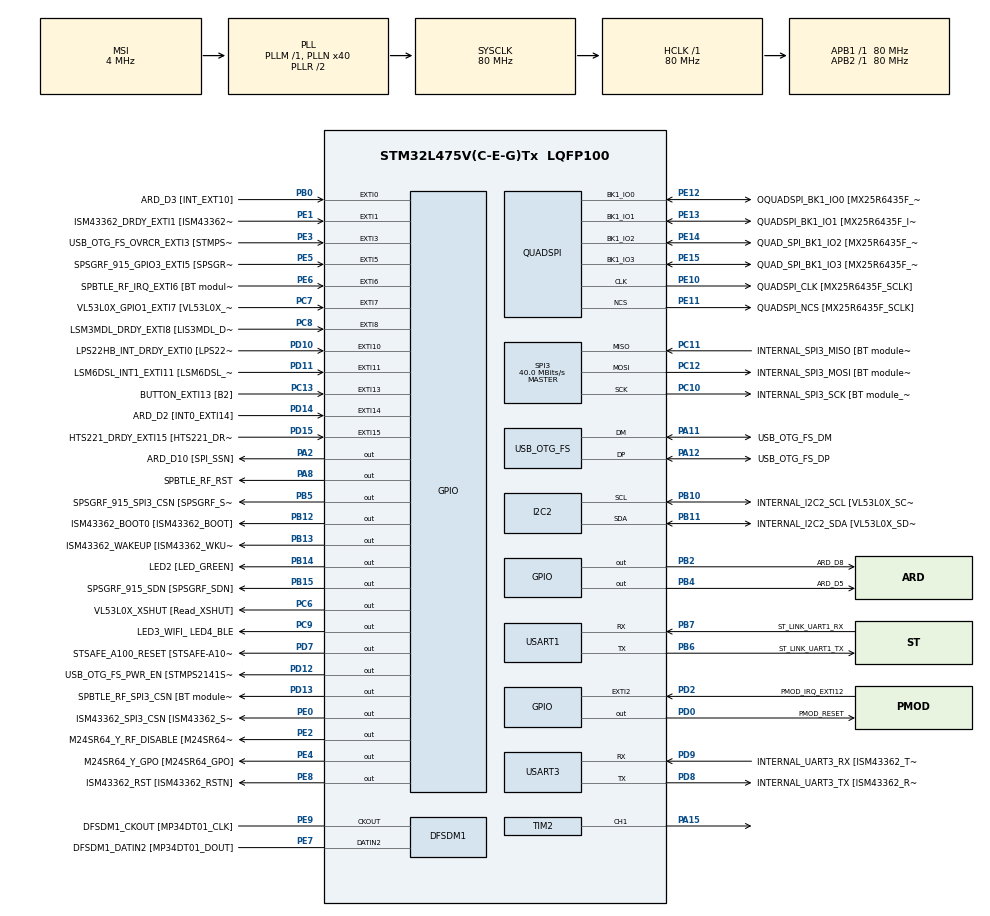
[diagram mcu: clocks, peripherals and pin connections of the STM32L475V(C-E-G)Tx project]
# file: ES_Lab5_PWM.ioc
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Mcu.Family=STM32L4
Mcu.Name=STM32L475V(C-E-G)Tx
Mcu.Package=LQFP100
NVIC.EXTI15_10_IRQn=true\:0\:0\:false\:false\:true\:true\:true\:true
NVIC.EXTI9_5_IRQn=true\:0\:0\:false\:false\:true\:true\:true\:true
NVIC.PriorityGroup=NVIC_PRIORITYGROUP_4
PA0.GPIO_Label=ARD_D1 [UART4_TX]
PA0.Signal=UART4_TX
PA1.GPIO_Label=ARD_D0 [UART4_RX]
PA1.Signal=UART4_RX
PA10.GPIO_Label=USB_OTG_FS_ID
PA10.Signal=USB_OTG_FS_ID
PA11.GPIO_Label=USB_OTG_FS_DM
PA11.Mode=Device_Only
PA11.Signal=USB_OTG_FS_DM
PA12.GPIO_Label=USB_OTG_FS_DP
PA12.Mode=Device_Only
PA12.Signal=USB_OTG_FS_DP
PA13\ (JTMS-SWDIO).GPIO_Label=SYS_JTMS_SWDIO
PA13\ (JTMS-SWDIO).Mode=Serial_Wire
PA13\ (JTMS-SWDIO).Signal=SYS_JTMS-SWDIO
PA14\ (JTCK-SWCLK).GPIO_Label=SYS_JTCK_SWCLK
PA14\ (JTCK-SWCLK).Mode=Serial_Wire
PA14\ (JTCK-SWCLK).Signal=SYS_JTCK-SWCLK
PA15\ (JTDI).Signal=S_TIM2_CH1
PA2.GPIO_Label=ARD_D10 [SPI_SSN]
PA2.Signal=GPIO_Output
PA3.GPIO_Label=ARD_D4
PA3.Signal=S_TIM2_CH4
PA4.GPIO_Label=ARD_D7
PA4.Signal=ADCx_IN9
PA6.GPIO_Label=ARD_D12 [SPI1_MISO]
PA6.Signal=SPI1_MISO
PA7.GPIO_Label=ARD_D11 [SPI1_MOSI]
PA7.Signal=SPI1_MOSI
PA8.GPIO_Label=SPBTLE_RF_RST
PA8.Signal=GPIO_Output
PA9.GPIO_Label=USB_OTG_FS_VBUS [STMPS2141STR_OUT]
PA9.Signal=USB_OTG_FS_VBUS
PB0.GPIO_Label=ARD_D3 [INT_EXT10]
PB0.Signal=GPXTI0
PB1.GPIO_Label=ARD_D6 [ADC1_IN6]
PB1.Signal=ADCx_IN16
PB10.GPIO_Label=INTERNAL_I2C2_SCL [VL53L0X_SCL]
PB10.GPIO_Pu=GPIO_PULLUP
PB10.Mode=I2C
PB10.Signal=I2C2_SCL
PB11.GPIO_Label=INTERNAL_I2C2_SDA [VL53L0X_SDA]
PB11.GPIO_Pu=GPIO_PULLUP
PB11.Mode=I2C
PB11.Signal=I2C2_SDA
PB12.GPIO_Label=ISM43362_BOOT0 [ISM43362_BOOT]
PB12.Signal=GPIO_Output
PB13.GPIO_Label=ISM43362_WAKEUP [ISM43362_WKUP]
PB13.Signal=GPIO_Output
PB14.GPIO_Label=LED2 [LED_GREEN]
PB14.Signal=GPIO_Output
PB15.GPIO_Label=SPSGRF_915_SDN [SPSGRF_SDN]
PB15.Signal=GPIO_Output
PB2.GPIO_Label=ARD_D8
PB2.Signal=GPIO_Output
PB3\ (JTDO-TRACESWO).GPIO_Label=SYS_JTD0_SWO
PB3\ (JTDO-TRACESWO).Signal=SYS_JTDO-SWO
PB4\ (NJTRST).GPIO_Label=ARD_D5
PB4\ (NJTRST).Signal=GPIO_Output
PB5.GPIO_Label=SPSGRF_915_SPI3_CSN [SPSGRF_SPI_CS]
PB5.PinState=GPIO_PIN_SET
PB5.Signal=GPIO_Output
PB6.GPIO_Label=ST_LINK_UART1_TX
PB6.Mode=Asynchronous
PB6.Signal=USART1_TX
PB7.GPIO_Label=ST_LINK_UART1_RX
PB7.Mode=Asynchronous
PB7.Signal=USART1_RX
PB8.GPIO_Label=ARD_D15 [I2C1_SCL]
PB8.Signal=I2C1_SCL
PB9.GPIO_Label=ARD_D14 [I2C1_SDA]
PB9.Signal=I2C1_SDA
PC0.GPIO_Label=ARD_A5 [ADC]
PC0.Signal=ADCx_IN1
PC1.GPIO_Label=ARD_A4 [ADC]
PC1.Signal=ADCx_IN2
PC10.GPIO_Label=INTERNAL_SPI3_SCK [BT module_SPI_SCLK] [ISM43362_SCK]
PC10.Mode=Full_Duplex_Master
PC10.Signal=SPI3_SCK
PC11.GPIO_Label=INTERNAL_SPI3_MISO [BT module_SPI_MISO] [ISM43362_MISO]
PC11.Mode=Full_Duplex_Master
PC11.Signal=SPI3_MISO
PC12.GPIO_Label=INTERNAL_SPI3_MOSI [BT module_SPI_MOSI] [ISM43362_MOSI]
PC12.Mode=Full_Duplex_Master
PC12.Signal=SPI3_MOSI
PC13.GPIO_Label=BUTTON_EXTI13 [B2]
PC13.GPIO_ModeDefaultEXTI=GPIO_MODE_IT_FALLING
PC13.Signal=GPXTI13
PC14-OSC32_IN\ (PC14).Mode=LSE-External-Oscillator
PC14-OSC32_IN\ (PC14).Signal=RCC_OSC32_IN
PC15-OSC32_OUT\ (PC15).Mode=LSE-External-Oscillator
PC15-OSC32_OUT\ (PC15).Signal=RCC_OSC32_OUT
PC2.GPIO_Label=ARD_A3 [ADC]
PC2.Signal=ADCx_IN3
PC3.GPIO_Label=ARD_A2 [ADC]
PC3.Signal=ADCx_IN4
PC4.GPIO_Label=ARD_A1 [ADC]
PC4.Signal=ADCx_IN13
PC5.GPIO_Label=ARD_A0 [ADC]
PC5.Signal=ADCx_IN14
PC6.GPIO_Label=VL53L0X_XSHUT [Read_XSHUT]
PC6.Signal=GPIO_Output
PC7.GPIO_Label=VL53L0X_GPIO1_EXTI7 [VL53L0X_GPIO1]
PC7.Signal=GPXTI7
PC8.GPIO_Label=LSM3MDL_DRDY_EXTI8 [LIS3MDL_DRDY]
PC8.Signal=GPXTI8
PC9.GPIO_Label=LED3_WIFI_ LED4_BLE
PC9.Signal=GPIO_Output
PD0.GPIO_Label=PMOD_RESET
PD0.Signal=GPIO_Output
PD1.GPIO_Label=PMOD_SPI2_SCK
PD1.Signal=SPI2_SCK
PD10.GPIO_Label=LPS22HB_INT_DRDY_EXTI0 [LPS22HB_INT_DRDY] 
PD10.Signal=GPXTI10
PD11.GPIO_Label=LSM6DSL_INT1_EXTI11 [LSM6DSL_INT1]
PD11.Signal=GPXTI11
PD12.GPIO_Label=USB_OTG_FS_PWR_EN [STMPS2141STR_EN]
PD12.Signal=GPIO_Output
PD13.GPIO_Label=SPBTLE_RF_SPI3_CSN [BT module_SPI_CS]
PD13.PinState=GPIO_PIN_SET
PD13.Signal=GPIO_Output
PD14.GPIO_Label=ARD_D2 [INT0_EXTI14]
PD14.Signal=GPXTI14
PD15.GPIO_Label=HTS221_DRDY_EXTI15 [HTS221_DRDY]
PD15.Signal=GPXTI15
PD2.GPIO_Label=PMOD_IRQ_EXTI12
PD2.Signal=GPXTI2
PD3.GPIO_Label=PMOD_UART2_CTS
PD3.Signal=USART2_CTS
PD4.GPIO_Label=PMOD_UART2_RTS
PD4.Signal=USART2_RTS
PD5.GPIO_Label=PMOD_UART2_TX
PD5.Signal=USART2_TX
PD6.GPIO_Label=PMOD_UART2_RX
PD6.Signal=USART2_RX
PD7.GPIO_Label=STSAFE_A100_RESET [STSAFE-A100_RESET]
PD7.Signal=GPIO_Output
PD8.GPIO_Label=INTERNAL_UART3_TX [ISM43362_RX]
PD8.Mode=Asynchronous
PD8.Signal=USART3_TX
PD9.GPIO_Label=INTERNAL_UART3_RX [ISM43362_TX]
PD9.Mode=Asynchronous
PD9.Signal=USART3_RX
PE0.GPIO_Label=ISM43362_SPI3_CSN [ISM43362_SSN]
PE0.PinState=GPIO_PIN_SET
PE0.Signal=GPIO_Output
PE1.GPIO_Label=ISM43362_DRDY_EXTI1 [ISM43362_DATARDY]
PE1.Signal=GPXTI1
PE10.GPIO_Label=QUADSPI_CLK [MX25R6435F_SCLK]
PE10.Mode=Single Bank
PE10.Signal=QUADSPI_CLK
PE11.GPIO_Label=QUADSPI_NCS [MX25R6435F_SCLK]
PE11.Mode=Single Bank
PE11.Signal=QUADSPI_NCS
PE12.GPIO_Label=OQUADSPI_BK1_IO0 [MX25R6435F_IO0]
PE12.Mode=Single Bank
PE12.Signal=QUADSPI_BK1_IO0
PE13.GPIO_Label=QUADSPI_BK1_IO1 [MX25R6435F_IO1]
PE13.Mode=Single Bank
PE13.Signal=QUADSPI_BK1_IO1
PE14.GPIO_Label=QUAD_SPI_BK1_IO2 [MX25R6435F_IO2]
PE14.Mode=Single Bank
PE14.Signal=QUADSPI_BK1_IO2
PE15.GPIO_Label=QUAD_SPI_BK1_IO3 [MX25R6435F_IO3]
PE15.Mode=Single Bank
PE15.Signal=QUADSPI_BK1_IO3
PE2.GPIO_Label=M24SR64_Y_RF_DISABLE [M24SR64_RFDIS]
PE2.Signal=GPIO_Output
PE3.GPIO_Label=USB_OTG_FS_OVRCR_EXTI3 [STMPS2141STR_FAULT]
PE3.Signal=GPXTI3
PE4.GPIO_Label=M24SR64_Y_GPO [M24SR64_GPO]
PE4.Signal=GPIO_Output
PE5.GPIO_Label=SPSGRF_915_GPIO3_EXTI5 [SPSGRF_GPIO_3]
PE5.Signal=GPXTI5
PE6.GPIO_Label=SPBTLE_RF_IRQ_EXTI6 [BT module_SPI_IRQ]
PE6.Signal=GPXTI6
PE7.GPIO_Label=DFSDM1_DATIN2 [MP34DT01_DOUT]
PE7.Signal=S_DATAIN2DFSDM1
PE8.GPIO_Label=ISM43362_RST [ISM43362_RSTN]
PE8.Signal=GPIO_Output
PE9.GPIO_Label=DFSDM1_CKOUT [MP34DT01_CLK]
PE9.Signal=S_CKOUTDFSDM1
ProjectManager.HeapSize=0x200
ProjectManager.StackSize=0x400
ProjectManager.TargetToolchain=STM32CubeIDE
QUADSPI.ClockPrescaler=2
QUADSPI.FifoThreshold=4
QUADSPI.FlashSize=23
QUADSPI.SampleShifting=QSPI_SAMPLE_SHIFTING_HALFCYCLE
RCC.ADCFreq_Value=48000000
RCC.AHBFreq_Value=80000000
RCC.APB1Freq_Value=80000000
RCC.APB1TimFreq_Value=80000000
RCC.APB2Freq_Value=80000000
RCC.APB2TimFreq_Value=80000000
RCC.CortexFreq_Value=80000000
RCC.HCLKFreq_Value=80000000
RCC.HSE_VALUE=8000000
RCC.HSI_VALUE=16000000
RCC.MSI_VALUE=4000000
RCC.PLLN=40
RCC.PLLSAI1N=24
RCC.SYSCLKFreq_VALUE=80000000
RCC.SYSCLKSource=RCC_SYSCLKSOURCE_PLLCLK
RCC.USBFreq_Value=48000000
RCC.VCOOutputFreq_Value=160000000
SH.ADCx_IN1.0=ADC1_IN1
SH.ADCx_IN13.0=ADC1_IN13
SH.ADCx_IN14.0=ADC1_IN14
SH.ADCx_IN16.0=ADC1_IN16
SH.ADCx_IN2.0=ADC1_IN2
SH.ADCx_IN3.0=ADC1_IN3
SH.ADCx_IN4.0=ADC1_IN4
SH.ADCx_IN9.0=ADC1_IN9
SH.S_CKOUTDFSDM1.0=DFSDM1_CKOUT,CKOUT
SH.S_CKOUTDFSDM1.1=DFSDM1_CKOUT,PDM_SPI_Input_from_ch12_and_Internal_Clock
SH.S_DATAIN2DFSDM1.0=DFSDM1_DATIN2,PDM_SPI_Input_from_ch12_and_Internal_Clock
SH.S_TIM2_CH1.0=TIM2_CH1,PWM Generation1 CH1
SH.S_TIM2_CH4.0=TIM2_CH4
SPI3.CalculateBaudRate=40.0 MBits/s
SPI3.Direction=SPI_DIRECTION_2LINES
SPI3.Mode=SPI_MODE_MASTER
SPI3.VirtualType=VM_MASTER
TIM2.Channel-PWM\ Generation1\ CH1=TIM_CHANNEL_1
TIM2.Period=99
TIM2.Prescaler=31
USART1.VirtualMode-Asynchronous=VM_ASYNC
USART3.VirtualMode-Asynchronous=VM_ASYNC
USB_OTG_FS.VirtualMode=Device_Only
VP_TIM2_VS_ClockSourceINT.Mode=Internal
board=B-L475E-IOT01A1

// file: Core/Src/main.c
/* USER CODE BEGIN Header */
/**
  ******************************************************************************
  * @file           : main.c
  * @brief          : Main program body
  ******************************************************************************
  * @attention
  *
  * Copyright (c) 2025 STMicroelectronics.
  * All rights reserved.
  *
  * This software is licensed under terms that can be found in the LICENSE file
  * in the root directory of this software component.
  * If no LICENSE file comes with this software, it is provided AS-IS.
  *
  ******************************************************************************
  */
#include <math.h>
/* USER CODE END Header */
#include "main.h"

DFSDM_Channel_HandleTypeDef hdfsdm1_channel1;

I2C_HandleTypeDef hi2c2;

QSPI_HandleTypeDef hqspi;

SPI_HandleTypeDef hspi3;

TIM_HandleTypeDef htim2;

UART_HandleTypeDef huart1;
UART_HandleTypeDef huart3;

PCD_HandleTypeDef hpcd_USB_OTG_FS;

void SystemClock_Config(void);
static void MX_GPIO_Init(void);
static void MX_DFSDM1_Init(void);
static void MX_I2C2_Init(void);
static void MX_QUADSPI_Init(void);
static void MX_SPI3_Init(void);
static void MX_USART1_UART_Init(void);
static void MX_USART3_UART_Init(void);
static void MX_USB_OTG_FS_PCD_Init(void);
static void MX_TIM2_Init(void);
/* USER CODE BEGIN PFP */
void SetPulse(int pulse);
void Breathe(void);
/* USER CODE END PFP */

int main(void)
{

  /* MCU Configuration--------------------------------------------------------*/

  /* Reset of all peripherals, Initializes the Flash interface and the Systick. */
  HAL_Init();

  /* Configure the system clock */
  SystemClock_Config();

  /* Initialize all configured peripherals */
  MX_GPIO_Init();
  MX_DFSDM1_Init();
  MX_I2C2_Init();
  MX_QUADSPI_Init();
  MX_SPI3_Init();
  MX_USART1_UART_Init();
  MX_USART3_UART_Init();
  MX_USB_OTG_FS_PCD_Init();
  MX_TIM2_Init();
  /* USER CODE BEGIN 2 */
  HAL_TIM_PWM_Start(&htim2,TIM_CHANNEL_1);
  /* USER CODE END 2 */

  /* Infinite loop */
  /* USER CODE BEGIN WHILE */
  while (1)
  {
	  HAL_Delay(10);
	  Breathe();
    /* USER CODE END WHILE */

  }
}

void SystemClock_Config(void)
{
  RCC_OscInitTypeDef RCC_OscInitStruct = {0};
  RCC_ClkInitTypeDef RCC_ClkInitStruct = {0};

  /** Configure the main internal regulator output voltage
  */
  if (HAL_PWREx_ControlVoltageScaling(PWR_REGULATOR_VOLTAGE_SCALE1) != HAL_OK)
  {
    Error_Handler();
  }

  /** Configure LSE Drive Capability
  */
  HAL_PWR_EnableBkUpAccess();
  __HAL_RCC_LSEDRIVE_CONFIG(RCC_LSEDRIVE_LOW);

  /** Initializes the RCC Oscillators according to the specified parameters
  * in the RCC_OscInitTypeDef structure.
  */
  RCC_OscInitStruct.OscillatorType = RCC_OSCILLATORTYPE_LSE|RCC_OSCILLATORTYPE_MSI;
  RCC_OscInitStruct.LSEState = RCC_LSE_ON;
  RCC_OscInitStruct.MSIState = RCC_MSI_ON;
  RCC_OscInitStruct.MSICalibrationValue = 0;
  RCC_OscInitStruct.MSIClockRange = RCC_MSIRANGE_6;
  RCC_OscInitStruct.PLL.PLLState = RCC_PLL_ON;
  RCC_OscInitStruct.PLL.PLLSource = RCC_PLLSOURCE_MSI;
  RCC_OscInitStruct.PLL.PLLM = 1;
  RCC_OscInitStruct.PLL.PLLN = 40;
  RCC_OscInitStruct.PLL.PLLP = RCC_PLLP_DIV7;
  RCC_OscInitStruct.PLL.PLLQ = RCC_PLLQ_DIV2;
  RCC_OscInitStruct.PLL.PLLR = RCC_PLLR_DIV2;
  if (HAL_RCC_OscConfig(&RCC_OscInitStruct) != HAL_OK)
  {
    Error_Handler();
  }

  /** Initializes the CPU, AHB and APB buses clocks
  */
  RCC_ClkInitStruct.ClockType = RCC_CLOCKTYPE_HCLK|RCC_CLOCKTYPE_SYSCLK
                              |RCC_CLOCKTYPE_PCLK1|RCC_CLOCKTYPE_PCLK2;
  RCC_ClkInitStruct.SYSCLKSource = RCC_SYSCLKSOURCE_PLLCLK;
  RCC_ClkInitStruct.AHBCLKDivider = RCC_SYSCLK_DIV1;
  RCC_ClkInitStruct.APB1CLKDivider = RCC_HCLK_DIV1;
  RCC_ClkInitStruct.APB2CLKDivider = RCC_HCLK_DIV1;

  if (HAL_RCC_ClockConfig(&RCC_ClkInitStruct, FLASH_LATENCY_4) != HAL_OK)
  {
    Error_Handler();
  }

  /** Enable MSI Auto calibration
  */
  HAL_RCCEx_EnableMSIPLLMode();
}

static void MX_DFSDM1_Init(void)
{

  hdfsdm1_channel1.Instance = DFSDM1_Channel1;
  hdfsdm1_channel1.Init.OutputClock.Activation = ENABLE;
  hdfsdm1_channel1.Init.OutputClock.Selection = DFSDM_CHANNEL_OUTPUT_CLOCK_SYSTEM;
  hdfsdm1_channel1.Init.OutputClock.Divider = 2;
  hdfsdm1_channel1.Init.Input.Multiplexer = DFSDM_CHANNEL_EXTERNAL_INPUTS;
  hdfsdm1_channel1.Init.Input.DataPacking = DFSDM_CHANNEL_STANDARD_MODE;
  hdfsdm1_channel1.Init.Input.Pins = DFSDM_CHANNEL_FOLLOWING_CHANNEL_PINS;
  hdfsdm1_channel1.Init.SerialInterface.Type = DFSDM_CHANNEL_SPI_RISING;
  hdfsdm1_channel1.Init.SerialInterface.SpiClock = DFSDM_CHANNEL_SPI_CLOCK_INTERNAL;
  hdfsdm1_channel1.Init.Awd.FilterOrder = DFSDM_CHANNEL_FASTSINC_ORDER;
  hdfsdm1_channel1.Init.Awd.Oversampling = 1;
  hdfsdm1_channel1.Init.Offset = 0;
  hdfsdm1_channel1.Init.RightBitShift = 0x00;
  if (HAL_DFSDM_ChannelInit(&hdfsdm1_channel1) != HAL_OK)
  {
    Error_Handler();
  }

}

static void MX_I2C2_Init(void)
{

  hi2c2.Instance = I2C2;
  hi2c2.Init.Timing = 0x00000E14;
  hi2c2.Init.OwnAddress1 = 0;
  hi2c2.Init.AddressingMode = I2C_ADDRESSINGMODE_7BIT;
  hi2c2.Init.DualAddressMode = I2C_DUALADDRESS_DISABLE;
  hi2c2.Init.OwnAddress2 = 0;
  hi2c2.Init.OwnAddress2Masks = I2C_OA2_NOMASK;
  hi2c2.Init.GeneralCallMode = I2C_GENERALCALL_DISABLE;
  hi2c2.Init.NoStretchMode = I2C_NOSTRETCH_DISABLE;
  if (HAL_I2C_Init(&hi2c2) != HAL_OK)
  {
    Error_Handler();
  }

  /** Configure Analogue filter
  */
  if (HAL_I2CEx_ConfigAnalogFilter(&hi2c2, I2C_ANALOGFILTER_ENABLE) != HAL_OK)
  {
    Error_Handler();
  }

  /** Configure Digital filter
  */
  if (HAL_I2CEx_ConfigDigitalFilter(&hi2c2, 0) != HAL_OK)
  {
    Error_Handler();
  }

}

static void MX_QUADSPI_Init(void)
{

  /* QUADSPI parameter configuration*/
  hqspi.Instance = QUADSPI;
  hqspi.Init.ClockPrescaler = 2;
  hqspi.Init.FifoThreshold = 4;
  hqspi.Init.SampleShifting = QSPI_SAMPLE_SHIFTING_HALFCYCLE;
  hqspi.Init.FlashSize = 23;
  hqspi.Init.ChipSelectHighTime = QSPI_CS_HIGH_TIME_1_CYCLE;
  hqspi.Init.ClockMode = QSPI_CLOCK_MODE_0;
  if (HAL_QSPI_Init(&hqspi) != HAL_OK)
  {
    Error_Handler();
  }

}

static void MX_SPI3_Init(void)
{

  /* SPI3 parameter configuration*/
  hspi3.Instance = SPI3;
  hspi3.Init.Mode = SPI_MODE_MASTER;
  hspi3.Init.Direction = SPI_DIRECTION_2LINES;
  hspi3.Init.DataSize = SPI_DATASIZE_4BIT;
  hspi3.Init.CLKPolarity = SPI_POLARITY_LOW;
  hspi3.Init.CLKPhase = SPI_PHASE_1EDGE;
  hspi3.Init.NSS = SPI_NSS_SOFT;
  hspi3.Init.BaudRatePrescaler = SPI_BAUDRATEPRESCALER_2;
  hspi3.Init.FirstBit = SPI_FIRSTBIT_MSB;
  hspi3.Init.TIMode = SPI_TIMODE_DISABLE;
  hspi3.Init.CRCCalculation = SPI_CRCCALCULATION_DISABLE;
  hspi3.Init.CRCPolynomial = 7;
  hspi3.Init.CRCLength = SPI_CRC_LENGTH_DATASIZE;
  hspi3.Init.NSSPMode = SPI_NSS_PULSE_ENABLE;
  if (HAL_SPI_Init(&hspi3) != HAL_OK)
  {
    Error_Handler();
  }

}

static void MX_TIM2_Init(void)
{

  TIM_ClockConfigTypeDef sClockSourceConfig = {0};
  TIM_MasterConfigTypeDef sMasterConfig = {0};
  TIM_OC_InitTypeDef sConfigOC = {0};

  htim2.Instance = TIM2;
  htim2.Init.Prescaler = 31;
  htim2.Init.CounterMode = TIM_COUNTERMODE_UP;
  htim2.Init.Period = 99;
  htim2.Init.ClockDivision = TIM_CLOCKDIVISION_DIV1;
  htim2.Init.AutoReloadPreload = TIM_AUTORELOAD_PRELOAD_DISABLE;
  if (HAL_TIM_Base_Init(&htim2) != HAL_OK)
  {
    Error_Handler();
  }
  sClockSourceConfig.ClockSource = TIM_CLOCKSOURCE_INTERNAL;
  if (HAL_TIM_ConfigClockSource(&htim2, &sClockSourceConfig) != HAL_OK)
  {
    Error_Handler();
  }
  if (HAL_TIM_PWM_Init(&htim2) != HAL_OK)
  {
    Error_Handler();
  }
  sMasterConfig.MasterOutputTrigger = TIM_TRGO_RESET;
  sMasterConfig.MasterSlaveMode = TIM_MASTERSLAVEMODE_DISABLE;
  if (HAL_TIMEx_MasterConfigSynchronization(&htim2, &sMasterConfig) != HAL_OK)
  {
    Error_Handler();
  }
  sConfigOC.OCMode = TIM_OCMODE_PWM1;
  sConfigOC.Pulse = 0;
  sConfigOC.OCPolarity = TIM_OCPOLARITY_HIGH;
  sConfigOC.OCFastMode = TIM_OCFAST_DISABLE;
  if (HAL_TIM_PWM_ConfigChannel(&htim2, &sConfigOC, TIM_CHANNEL_1) != HAL_OK)
  {
    Error_Handler();
  }
  HAL_TIM_MspPostInit(&htim2);

}

static void MX_USART1_UART_Init(void)
{

  huart1.Instance = USART1;
  huart1.Init.BaudRate = 115200;
  huart1.Init.WordLength = UART_WORDLENGTH_8B;
  huart1.Init.StopBits = UART_STOPBITS_1;
  huart1.Init.Parity = UART_PARITY_NONE;
  huart1.Init.Mode = UART_MODE_TX_RX;
  huart1.Init.HwFlowCtl = UART_HWCONTROL_NONE;
  huart1.Init.OverSampling = UART_OVERSAMPLING_16;
  huart1.Init.OneBitSampling = UART_ONE_BIT_SAMPLE_DISABLE;
  huart1.AdvancedInit.AdvFeatureInit = UART_ADVFEATURE_NO_INIT;
  if (HAL_UART_Init(&huart1) != HAL_OK)
  {
    Error_Handler();
  }

}

static void MX_USART3_UART_Init(void)
{

  huart3.Instance = USART3;
  huart3.Init.BaudRate = 115200;
  huart3.Init.WordLength = UART_WORDLENGTH_8B;
  huart3.Init.StopBits = UART_STOPBITS_1;
  huart3.Init.Parity = UART_PARITY_NONE;
  huart3.Init.Mode = UART_MODE_TX_RX;
  huart3.Init.HwFlowCtl = UART_HWCONTROL_NONE;
  huart3.Init.OverSampling = UART_OVERSAMPLING_16;
  huart3.Init.OneBitSampling = UART_ONE_BIT_SAMPLE_DISABLE;
  huart3.AdvancedInit.AdvFeatureInit = UART_ADVFEATURE_NO_INIT;
  if (HAL_UART_Init(&huart3) != HAL_OK)
  {
    Error_Handler();
  }

}

static void MX_USB_OTG_FS_PCD_Init(void)
{

  hpcd_USB_OTG_FS.Instance = USB_OTG_FS;
  hpcd_USB_OTG_FS.Init.dev_endpoints = 6;
  hpcd_USB_OTG_FS.Init.speed = PCD_SPEED_FULL;
  hpcd_USB_OTG_FS.Init.phy_itface = PCD_PHY_EMBEDDED;
  hpcd_USB_OTG_FS.Init.Sof_enable = DISABLE;
  hpcd_USB_OTG_FS.Init.low_power_enable = DISABLE;
  hpcd_USB_OTG_FS.Init.lpm_enable = DISABLE;
  hpcd_USB_OTG_FS.Init.battery_charging_enable = DISABLE;
  hpcd_USB_OTG_FS.Init.use_dedicated_ep1 = DISABLE;
  hpcd_USB_OTG_FS.Init.vbus_sensing_enable = DISABLE;
  if (HAL_PCD_Init(&hpcd_USB_OTG_FS) != HAL_OK)
  {
    Error_Handler();
  }

}

static void MX_GPIO_Init(void)
{
  GPIO_InitTypeDef GPIO_InitStruct = {0};

  /* GPIO Ports Clock Enable */
  __HAL_RCC_GPIOE_CLK_ENABLE();
  __HAL_RCC_GPIOC_CLK_ENABLE();
  __HAL_RCC_GPIOA_CLK_ENABLE();
  __HAL_RCC_GPIOB_CLK_ENABLE();
  __HAL_RCC_GPIOD_CLK_ENABLE();

  /*Configure GPIO pin Output Level */
  HAL_GPIO_WritePin(GPIOE, M24SR64_Y_RF_DISABLE_Pin|M24SR64_Y_GPO_Pin|ISM43362_RST_Pin, GPIO_PIN_RESET);

  /*Configure GPIO pin Output Level */
  HAL_GPIO_WritePin(GPIOA, ARD_D10_Pin|SPBTLE_RF_RST_Pin, GPIO_PIN_RESET);

  /*Configure GPIO pin Output Level */
  HAL_GPIO_WritePin(GPIOB, ARD_D8_Pin|ISM43362_BOOT0_Pin|ISM43362_WAKEUP_Pin|LED2_Pin
                          |SPSGRF_915_SDN_Pin|ARD_D5_Pin, GPIO_PIN_RESET);

  /*Configure GPIO pin Output Level */
  HAL_GPIO_WritePin(GPIOD, USB_OTG_FS_PWR_EN_Pin|PMOD_RESET_Pin|STSAFE_A100_RESET_Pin, GPIO_PIN_RESET);

  /*Configure GPIO pin Output Level */
  HAL_GPIO_WritePin(SPBTLE_RF_SPI3_CSN_GPIO_Port, SPBTLE_RF_SPI3_CSN_Pin, GPIO_PIN_SET);

  /*Configure GPIO pin Output Level */
  HAL_GPIO_WritePin(GPIOC, VL53L0X_XSHUT_Pin|LED3_WIFI__LED4_BLE_Pin, GPIO_PIN_RESET);

  /*Configure GPIO pin Output Level */
  HAL_GPIO_WritePin(SPSGRF_915_SPI3_CSN_GPIO_Port, SPSGRF_915_SPI3_CSN_Pin, GPIO_PIN_SET);

  /*Configure GPIO pin Output Level */
  HAL_GPIO_WritePin(ISM43362_SPI3_CSN_GPIO_Port, ISM43362_SPI3_CSN_Pin, GPIO_PIN_SET);

  /*Configure GPIO pins : M24SR64_Y_RF_DISABLE_Pin M24SR64_Y_GPO_Pin ISM43362_RST_Pin ISM43362_SPI3_CSN_Pin */
  GPIO_InitStruct.Pin = M24SR64_Y_RF_DISABLE_Pin|M24SR64_Y_GPO_Pin|ISM43362_RST_Pin|ISM43362_SPI3_CSN_Pin;
  GPIO_InitStruct.Mode = GPIO_MODE_OUTPUT_PP;
  GPIO_InitStruct.Pull = GPIO_NOPULL;
  GPIO_InitStruct.Speed = GPIO_SPEED_FREQ_LOW;
  HAL_GPIO_Init(GPIOE, &GPIO_InitStruct);

  /*Configure GPIO pins : USB_OTG_FS_OVRCR_EXTI3_Pin SPSGRF_915_GPIO3_EXTI5_Pin SPBTLE_RF_IRQ_EXTI6_Pin ISM43362_DRDY_EXTI1_Pin */
  GPIO_InitStruct.Pin = USB_OTG_FS_OVRCR_EXTI3_Pin|SPSGRF_915_GPIO3_EXTI5_Pin|SPBTLE_RF_IRQ_EXTI6_Pin|ISM43362_DRDY_EXTI1_Pin;
  GPIO_InitStruct.Mode = GPIO_MODE_IT_RISING;
  GPIO_InitStruct.Pull = GPIO_NOPULL;
  HAL_GPIO_Init(GPIOE, &GPIO_InitStruct);

  /*Configure GPIO pin : BUTTON_EXTI13_Pin */
  GPIO_InitStruct.Pin = BUTTON_EXTI13_Pin;
  GPIO_InitStruct.Mode = GPIO_MODE_IT_FALLING;
  GPIO_InitStruct.Pull = GPIO_NOPULL;
  HAL_GPIO_Init(BUTTON_EXTI13_GPIO_Port, &GPIO_InitStruct);

  /*Configure GPIO pins : ARD_A5_Pin ARD_A4_Pin ARD_A3_Pin ARD_A2_Pin
                           ARD_A1_Pin ARD_A0_Pin */
  GPIO_InitStruct.Pin = ARD_A5_Pin|ARD_A4_Pin|ARD_A3_Pin|ARD_A2_Pin
                          |ARD_A1_Pin|ARD_A0_Pin;
  GPIO_InitStruct.Mode = GPIO_MODE_ANALOG_ADC_CONTROL;
  GPIO_InitStruct.Pull = GPIO_NOPULL;
  HAL_GPIO_Init(GPIOC, &GPIO_InitStruct);

  /*Configure GPIO pins : ARD_D1_Pin ARD_D0_Pin */
  GPIO_InitStruct.Pin = ARD_D1_Pin|ARD_D0_Pin;
  GPIO_InitStruct.Mode = GPIO_MODE_AF_PP;
  GPIO_InitStruct.Pull = GPIO_NOPULL;
  GPIO_InitStruct.Speed = GPIO_SPEED_FREQ_VERY_HIGH;
  GPIO_InitStruct.Alternate = GPIO_AF8_UART4;
  HAL_GPIO_Init(GPIOA, &GPIO_InitStruct);

  /*Configure GPIO pins : ARD_D10_Pin SPBTLE_RF_RST_Pin */
  GPIO_InitStruct.Pin = ARD_D10_Pin|SPBTLE_RF_RST_Pin;
  GPIO_InitStruct.Mode = GPIO_MODE_OUTPUT_PP;
  GPIO_InitStruct.Pull = GPIO_NOPULL;
  GPIO_InitStruct.Speed = GPIO_SPEED_FREQ_LOW;
  HAL_GPIO_Init(GPIOA, &GPIO_InitStruct);

  /*Configure GPIO pin : ARD_D7_Pin */
  GPIO_InitStruct.Pin = ARD_D7_Pin;
  GPIO_InitStruct.Mode = GPIO_MODE_ANALOG_ADC_CONTROL;
  GPIO_InitStruct.Pull = GPIO_NOPULL;
  HAL_GPIO_Init(ARD_D7_GPIO_Port, &GPIO_InitStruct);

  /*Configure GPIO pins : ARD_D12_Pin ARD_D11_Pin */
  GPIO_InitStruct.Pin = ARD_D12_Pin|ARD_D11_Pin;
  GPIO_InitStruct.Mode = GPIO_MODE_AF_PP;
  GPIO_InitStruct.Pull = GPIO_NOPULL;
  GPIO_InitStruct.Speed = GPIO_SPEED_FREQ_VERY_HIGH;
  GPIO_InitStruct.Alternate = GPIO_AF5_SPI1;
  HAL_GPIO_Init(GPIOA, &GPIO_InitStruct);

  /*Configure GPIO pin : ARD_D3_Pin */
  GPIO_InitStruct.Pin = ARD_D3_Pin;
  GPIO_InitStruct.Mode = GPIO_MODE_IT_RISING;
  GPIO_InitStruct.Pull = GPIO_NOPULL;
  HAL_GPIO_Init(ARD_D3_GPIO_Port, &GPIO_InitStruct);

  /*Configure GPIO pin : ARD_D6_Pin */
  GPIO_InitStruct.Pin = ARD_D6_Pin;
  GPIO_InitStruct.Mode = GPIO_MODE_ANALOG_ADC_CONTROL;
  GPIO_InitStruct.Pull = GPIO_NOPULL;
  HAL_GPIO_Init(ARD_D6_GPIO_Port, &GPIO_InitStruct);

  /*Configure GPIO pins : ARD_D8_Pin ISM43362_BOOT0_Pin ISM43362_WAKEUP_Pin LED2_Pin
                           SPSGRF_915_SDN_Pin ARD_D5_Pin SPSGRF_915_SPI3_CSN_Pin */
  GPIO_InitStruct.Pin = ARD_D8_Pin|ISM43362_BOOT0_Pin|ISM43362_WAKEUP_Pin|LED2_Pin
                          |SPSGRF_915_SDN_Pin|ARD_D5_Pin|SPSGRF_915_SPI3_CSN_Pin;
  GPIO_InitStruct.Mode = GPIO_MODE_OUTPUT_PP;
  GPIO_InitStruct.Pull = GPIO_NOPULL;
  GPIO_InitStruct.Speed = GPIO_SPEED_FREQ_LOW;
  HAL_GPIO_Init(GPIOB, &GPIO_InitStruct);

  /*Configure GPIO pins : LPS22HB_INT_DRDY_EXTI0_Pin LSM6DSL_INT1_EXTI11_Pin ARD_D2_Pin HTS221_DRDY_EXTI15_Pin
                           PMOD_IRQ_EXTI12_Pin */
  GPIO_InitStruct.Pin = LPS22HB_INT_DRDY_EXTI0_Pin|LSM6DSL_INT1_EXTI11_Pin|ARD_D2_Pin|HTS221_DRDY_EXTI15_Pin
                          |PMOD_IRQ_EXTI12_Pin;
  GPIO_InitStruct.Mode = GPIO_MODE_IT_RISING;
  GPIO_InitStruct.Pull = GPIO_NOPULL;
  HAL_GPIO_Init(GPIOD, &GPIO_InitStruct);

  /*Configure GPIO pins : USB_OTG_FS_PWR_EN_Pin SPBTLE_RF_SPI3_CSN_Pin PMOD_RESET_Pin STSAFE_A100_RESET_Pin */
  GPIO_InitStruct.Pin = USB_OTG_FS_PWR_EN_Pin|SPBTLE_RF_SPI3_CSN_Pin|PMOD_RESET_Pin|STSAFE_A100_RESET_Pin;
  GPIO_InitStruct.Mode = GPIO_MODE_OUTPUT_PP;
  GPIO_InitStruct.Pull = GPIO_NOPULL;
  GPIO_InitStruct.Speed = GPIO_SPEED_FREQ_LOW;
  HAL_GPIO_Init(GPIOD, &GPIO_InitStruct);

  /*Configure GPIO pins : VL53L0X_XSHUT_Pin LED3_WIFI__LED4_BLE_Pin */
  GPIO_InitStruct.Pin = VL53L0X_XSHUT_Pin|LED3_WIFI__LED4_BLE_Pin;
  GPIO_InitStruct.Mode = GPIO_MODE_OUTPUT_PP;
  GPIO_InitStruct.Pull = GPIO_NOPULL;
  GPIO_InitStruct.Speed = GPIO_SPEED_FREQ_LOW;
  HAL_GPIO_Init(GPIOC, &GPIO_InitStruct);

  /*Configure GPIO pins : VL53L0X_GPIO1_EXTI7_Pin LSM3MDL_DRDY_EXTI8_Pin */
  GPIO_InitStruct.Pin = VL53L0X_GPIO1_EXTI7_Pin|LSM3MDL_DRDY_EXTI8_Pin;
  GPIO_InitStruct.Mode = GPIO_MODE_IT_RISING;
  GPIO_InitStruct.Pull = GPIO_NOPULL;
  HAL_GPIO_Init(GPIOC, &GPIO_InitStruct);

  /*Configure GPIO pin : PMOD_SPI2_SCK_Pin */
  GPIO_InitStruct.Pin = PMOD_SPI2_SCK_Pin;
  GPIO_InitStruct.Mode = GPIO_MODE_AF_PP;
  GPIO_InitStruct.Pull = GPIO_NOPULL;
  GPIO_InitStruct.Speed = GPIO_SPEED_FREQ_VERY_HIGH;
  GPIO_InitStruct.Alternate = GPIO_AF5_SPI2;
  HAL_GPIO_Init(PMOD_SPI2_SCK_GPIO_Port, &GPIO_InitStruct);

  /*Configure GPIO pins : PMOD_UART2_CTS_Pin PMOD_UART2_RTS_Pin PMOD_UART2_TX_Pin PMOD_UART2_RX_Pin */
  GPIO_InitStruct.Pin = PMOD_UART2_CTS_Pin|PMOD_UART2_RTS_Pin|PMOD_UART2_TX_Pin|PMOD_UART2_RX_Pin;
  GPIO_InitStruct.Mode = GPIO_MODE_AF_PP;
  GPIO_InitStruct.Pull = GPIO_NOPULL;
  GPIO_InitStruct.Speed = GPIO_SPEED_FREQ_VERY_HIGH;
  GPIO_InitStruct.Alternate = GPIO_AF7_USART2;
  HAL_GPIO_Init(GPIOD, &GPIO_InitStruct);

  /*Configure GPIO pins : ARD_D15_Pin ARD_D14_Pin */
  GPIO_InitStruct.Pin = ARD_D15_Pin|ARD_D14_Pin;
  GPIO_InitStruct.Mode = GPIO_MODE_AF_OD;
  GPIO_InitStruct.Pull = GPIO_NOPULL;
  GPIO_InitStruct.Speed = GPIO_SPEED_FREQ_VERY_HIGH;
  GPIO_InitStruct.Alternate = GPIO_AF4_I2C1;
  HAL_GPIO_Init(GPIOB, &GPIO_InitStruct);

  /* EXTI interrupt init*/
  HAL_NVIC_SetPriority(EXTI9_5_IRQn, 0, 0);
  HAL_NVIC_EnableIRQ(EXTI9_5_IRQn);

  HAL_NVIC_SetPriority(EXTI15_10_IRQn, 0, 0);
  HAL_NVIC_EnableIRQ(EXTI15_10_IRQn);

}

/* USER CODE BEGIN 4 */
void SetPulse(int pulse)
{
	  TIM_OC_InitTypeDef sConfigOC = {0};
	  sConfigOC.OCMode = TIM_OCMODE_PWM1;
	  sConfigOC.Pulse = pulse;
	  sConfigOC.OCPolarity = TIM_OCPOLARITY_HIGH;
	  sConfigOC.OCFastMode = TIM_OCFAST_DISABLE;
	  if (HAL_TIM_PWM_ConfigChannel(&htim2, &sConfigOC, TIM_CHANNEL_1) != HAL_OK)
	  {
	    Error_Handler();
	  }
}

void Breathe(void)
{
	const double PI = 3.141592653589793;
	const int update_period = 10; //ms of updating pulse
	const int cycle_period = 5000; //ms of breathing cycle
	const int breath_mean = 49;
	const int breath_amplitude = 49;
	static int t = 0;
	SetPulse((int)(breath_mean + breath_amplitude * sin(2 * PI * t * update_period / cycle_period)));
	t++;
}
/* USER CODE END 4 */

void Error_Handler(void)
{
  __disable_irq();
  while (1)
  {
  }
}
